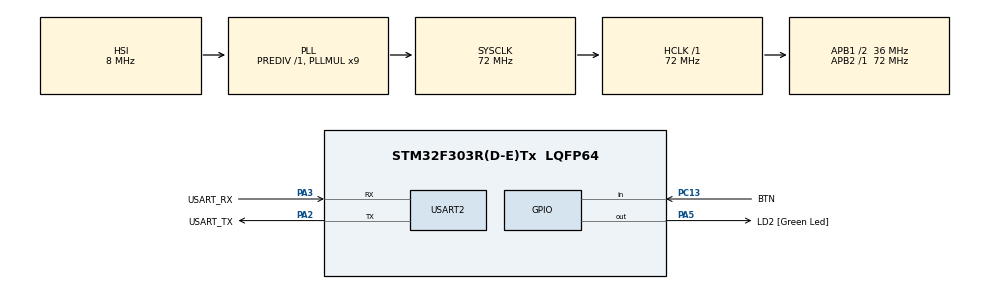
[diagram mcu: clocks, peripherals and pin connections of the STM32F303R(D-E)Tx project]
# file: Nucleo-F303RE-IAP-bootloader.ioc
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Mcu.Family=STM32F3
Mcu.Name=STM32F303R(D-E)Tx
Mcu.Package=LQFP64
NVIC.PriorityGroup=NVIC_PRIORITYGROUP_0
PA13.GPIO_Label=TMS
PA13.Mode=Serial_Wire
PA13.Signal=SYS_JTMS-SWDIO
PA14.GPIO_Label=TCK
PA14.Mode=Serial_Wire
PA14.Signal=SYS_JTCK-SWCLK
PA2.GPIO_Label=USART_TX
PA2.GPIO_Mode=GPIO_MODE_AF_PP
PA2.GPIO_PuPd=GPIO_NOPULL
PA2.GPIO_Speed=GPIO_SPEED_FREQ_LOW
PA2.Mode=Asynchronous
PA2.Signal=USART2_TX
PA3.GPIO_Label=USART_RX
PA3.GPIO_Mode=GPIO_MODE_AF_PP
PA3.GPIO_PuPd=GPIO_NOPULL
PA3.GPIO_Speed=GPIO_SPEED_FREQ_LOW
PA3.Mode=Asynchronous
PA3.Signal=USART2_RX
PA5.GPIO_Label=LD2 [Green Led]
PA5.GPIO_Mode=GPIO_MODE_OUTPUT_PP
PA5.GPIO_PuPd=GPIO_NOPULL
PA5.GPIO_Speed=GPIO_SPEED_FREQ_LOW
PA5.Signal=GPIO_Output
PB3.GPIO_Label=SWO
PB3.Signal=SYS_JTDO-TRACESWO
PC13.GPIO_Label=BTN
PC13.Signal=GPIO_Input
PC14-OSC32_IN.Mode=LSE-External-Oscillator
PC14-OSC32_IN.Signal=RCC_OSC32_IN
PC15-OSC32_OUT.Mode=LSE-External-Oscillator
PC15-OSC32_OUT.Signal=RCC_OSC32_OUT
PF0-OSC_IN.Mode=HSE-External-Clock-Source
PF0-OSC_IN.Signal=RCC_OSC_IN
PF1-OSC_OUT.Signal=RCC_OSC_OUT
ProjectManager.HeapSize=0x200
ProjectManager.StackSize=0x400
ProjectManager.TargetToolchain=STM32CubeIDE
RCC.AHBFreq_Value=72000000
RCC.APB1CLKDivider=RCC_HCLK_DIV2
RCC.APB1Freq_Value=36000000
RCC.APB1TimFreq_Value=72000000
RCC.APB2Freq_Value=72000000
RCC.APB2TimFreq_Value=72000000
RCC.CortexFreq_Value=72000000
RCC.HCLKFreq_Value=72000000
RCC.HSE_VALUE=8000000
RCC.HSI_VALUE=8000000
RCC.PLLM=8
RCC.PLLMUL=RCC_PLL_MUL9
RCC.PLLN=336
RCC.PLLP=RCC_PLLP_DIV4
RCC.PLLQ=7
RCC.RCC_PLLsource_Clock_Source_FROM_HSE=RCC_HSE_PREDIV_DIV2
RCC.SYSCLKFreq_VALUE=72000000
RCC.SYSCLKSourceVirtual=RCC_SYSCLKSOURCE_PLLCLK
RCC.USBFreq_Value=72000000
USART2.VirtualMode-Asynchronous=VM_ASYNC
board=NUCLEO-F303RE

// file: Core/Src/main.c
/* USER CODE BEGIN Header */
/**
  ******************************************************************************
  * @file           : main.c
  * @brief          : Main program body
  ******************************************************************************
  * @attention
  *
  * <h2><center>&copy; Copyright (c) 2021 STMicroelectronics.
  * All rights reserved.</center></h2>
  *
  * This software component is licensed by ST under BSD 3-Clause license,
  * the "License"; You may not use this file except in compliance with the
  * License. You may obtain a copy of the License at:
  *                        opensource.org/licenses/BSD-3-Clause
  *
  ******************************************************************************
  */
/* USER CODE END Header */
#include "main.h"

/* USER CODE BEGIN Includes */
#include "iap.h"
#include "CRC_Xmodem.h"
/* USER CODE END Includes */

/* USER CODE BEGIN PD */
#define MSG_LEN 100
#define UART_WAIT ((uint16_t)1000u)
/* USER CODE END PD */

UART_HandleTypeDef huart2;

/* USER CODE BEGIN PV */
char msg1[MSG_LEN] = "\n\r==============================\n\r";
char msg2[MSG_LEN] = "Serial communication - UART\n\r";
char msg3[MSG_LEN] = "==============================\n\r";
char msg4[MSG_LEN] = "Moving into user APP\n\r";
char msg5[MSG_LEN] = "Send the binary file with Xmodem protocol and update firmware\n\r";
char msg6[MSG_LEN] = "\n\rFailed to Boot the system\n\r";
/* USER CODE END PV */

void SystemClock_Config(void);
static void MX_GPIO_Init(void);
static void MX_USART2_UART_Init(void);

int main(void)
{

  /* MCU Configuration--------------------------------------------------------*/

  /* Reset of all peripherals, Initializes the Flash interface and the Systick. */
  HAL_Init();

  /* Configure the system clock */
  SystemClock_Config();

  /* Initialize all configured peripherals */
  MX_GPIO_Init();
  MX_USART2_UART_Init();
  /* USER CODE BEGIN 2 */
  /* Entry UART message*/
	HAL_UART_Transmit(&huart2, (uint8_t*)msg1, MSG_LEN, UART_WAIT);
	HAL_UART_Transmit(&huart2, (uint8_t*)msg2, MSG_LEN, UART_WAIT);
	HAL_UART_Transmit(&huart2, (uint8_t*)msg3, MSG_LEN, UART_WAIT);

	/* Check the status of Bootloader BTN, if the button is pressed
	 * it jumps into user application, if not, it stays in Bootloader mode*/
	if(!HAL_GPIO_ReadPin(BTN_GPIO_Port, BTN_Pin))
	{
	  HAL_UART_Transmit(&huart2, (uint8_t*)msg4, MSG_LEN, UART_WAIT);
	  flash_jump_to_app();
	}
  /* USER CODE END 2 */

  /* Infinite loop */
  /* USER CODE BEGIN WHILE */
  while (1)
  {
	  /*If LD3 shines, the Bootloader has started and waits for flashing*/
	  HAL_GPIO_WritePin(GPIOA, LD2_Pin, GPIO_PIN_SET);
	  /*Tell the user that it is now possible to flash the memory*/
	  HAL_UART_Transmit(&huart2, (uint8_t*)msg5, MSG_LEN, UART_WAIT);
	  xmodem_receive();
	  /*Xmodem is left only with an error - notify user*/
	  HAL_UART_Transmit(&huart2, (uint8_t *)msg6, MSG_LEN, UART_WAIT);
    /* USER CODE END WHILE */

  }
}

void SystemClock_Config(void)
{
  RCC_OscInitTypeDef RCC_OscInitStruct = {0};
  RCC_ClkInitTypeDef RCC_ClkInitStruct = {0};
  RCC_PeriphCLKInitTypeDef PeriphClkInit = {0};

  /** Initializes the RCC Oscillators according to the specified parameters
  * in the RCC_OscInitTypeDef structure.
  */
  RCC_OscInitStruct.OscillatorType = RCC_OSCILLATORTYPE_HSI;
  RCC_OscInitStruct.HSIState = RCC_HSI_ON;
  RCC_OscInitStruct.HSICalibrationValue = RCC_HSICALIBRATION_DEFAULT;
  RCC_OscInitStruct.PLL.PLLState = RCC_PLL_ON;
  RCC_OscInitStruct.PLL.PLLSource = RCC_PLLSOURCE_HSI;
  RCC_OscInitStruct.PLL.PLLMUL = RCC_PLL_MUL9;
  RCC_OscInitStruct.PLL.PREDIV = RCC_PREDIV_DIV1;
  if (HAL_RCC_OscConfig(&RCC_OscInitStruct) != HAL_OK)
  {
    Error_Handler();
  }
  /** Initializes the CPU, AHB and APB buses clocks
  */
  RCC_ClkInitStruct.ClockType = RCC_CLOCKTYPE_HCLK|RCC_CLOCKTYPE_SYSCLK
                              |RCC_CLOCKTYPE_PCLK1|RCC_CLOCKTYPE_PCLK2;
  RCC_ClkInitStruct.SYSCLKSource = RCC_SYSCLKSOURCE_PLLCLK;
  RCC_ClkInitStruct.AHBCLKDivider = RCC_SYSCLK_DIV1;
  RCC_ClkInitStruct.APB1CLKDivider = RCC_HCLK_DIV2;
  RCC_ClkInitStruct.APB2CLKDivider = RCC_HCLK_DIV1;

  if (HAL_RCC_ClockConfig(&RCC_ClkInitStruct, FLASH_LATENCY_2) != HAL_OK)
  {
    Error_Handler();
  }
  PeriphClkInit.PeriphClockSelection = RCC_PERIPHCLK_USART2;
  PeriphClkInit.Usart2ClockSelection = RCC_USART2CLKSOURCE_PCLK1;
  if (HAL_RCCEx_PeriphCLKConfig(&PeriphClkInit) != HAL_OK)
  {
    Error_Handler();
  }
}

static void MX_USART2_UART_Init(void)
{

  huart2.Instance = USART2;
  huart2.Init.BaudRate = 38400;
  huart2.Init.WordLength = UART_WORDLENGTH_8B;
  huart2.Init.StopBits = UART_STOPBITS_1;
  huart2.Init.Parity = UART_PARITY_NONE;
  huart2.Init.Mode = UART_MODE_TX_RX;
  huart2.Init.HwFlowCtl = UART_HWCONTROL_NONE;
  huart2.Init.OverSampling = UART_OVERSAMPLING_16;
  huart2.Init.OneBitSampling = UART_ONE_BIT_SAMPLE_DISABLE;
  huart2.AdvancedInit.AdvFeatureInit = UART_ADVFEATURE_NO_INIT;
  if (HAL_UART_Init(&huart2) != HAL_OK)
  {
    Error_Handler();
  }

}

static void MX_GPIO_Init(void)
{
  GPIO_InitTypeDef GPIO_InitStruct = {0};

  /* GPIO Ports Clock Enable */
  __HAL_RCC_GPIOC_CLK_ENABLE();
  __HAL_RCC_GPIOF_CLK_ENABLE();
  __HAL_RCC_GPIOA_CLK_ENABLE();
  __HAL_RCC_GPIOB_CLK_ENABLE();

  /*Configure GPIO pin Output Level */
  HAL_GPIO_WritePin(LD2_GPIO_Port, LD2_Pin, GPIO_PIN_RESET);

  /*Configure GPIO pin : BTN_Pin */
  GPIO_InitStruct.Pin = BTN_Pin;
  GPIO_InitStruct.Mode = GPIO_MODE_INPUT;
  GPIO_InitStruct.Pull = GPIO_NOPULL;
  HAL_GPIO_Init(BTN_GPIO_Port, &GPIO_InitStruct);

  /*Configure GPIO pin : LD2_Pin */
  GPIO_InitStruct.Pin = LD2_Pin;
  GPIO_InitStruct.Mode = GPIO_MODE_OUTPUT_PP;
  GPIO_InitStruct.Pull = GPIO_NOPULL;
  GPIO_InitStruct.Speed = GPIO_SPEED_FREQ_LOW;
  HAL_GPIO_Init(LD2_GPIO_Port, &GPIO_InitStruct);

}

void Error_Handler(void)
{
  __disable_irq();
  while (1)
  {
  }
}
